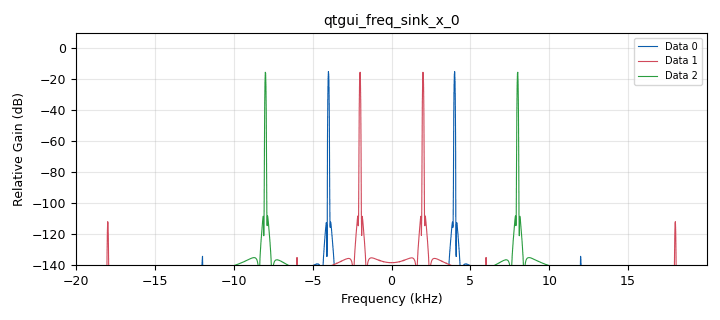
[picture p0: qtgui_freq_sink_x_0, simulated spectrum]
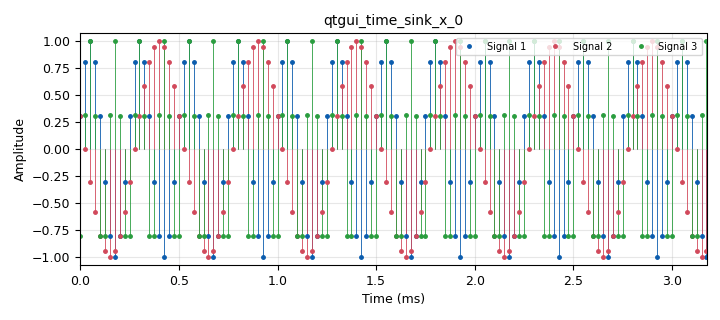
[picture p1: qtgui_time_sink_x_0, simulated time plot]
options:
  parameters:
    author: Jesus_Garcia_Juan_Gonzalez_B1B_G4
    generate_options: qt_gui
    id: Lab_comu_1
    output_language: python
    title: LAB1 - (PUNTO B) - 3
  states: {}

blocks:
- name: freq
  id: variable_qtgui_range
  parameters:
    label: frequency
    start: '1000'
    step: '1000'
    stop: '40000'
    value: '4000'
  states: {}
- name: samp_rate
  id: variable
  parameters:
    value: '40000'
  states: {}
- name: analog_sig_source_x_0
  id: analog_sig_source_x
  parameters:
    amp: '1'
    freq: '4000'
    offset: '0'
    phase: '0'
    samp_rate: samp_rate
    type: float
    waveform: analog.GR_COS_WAVE
  states: {}
- name: analog_sig_source_x_1
  id: analog_sig_source_x
  parameters:
    amp: '1'
    freq: '4000'
    offset: '0'
    phase: '0'
    samp_rate: samp_rate
    type: float
    waveform: analog.GR_COS_WAVE
  states: {}
- name: analog_sig_source_x_2
  id: analog_sig_source_x
  parameters:
    amp: '1'
    freq: '4000'
    offset: '0'
    phase: '0'
    samp_rate: samp_rate
    type: float
    waveform: analog.GR_COS_WAVE
  states: {}
- name: blocks_throttle_0
  id: blocks_throttle
  parameters:
    samples_per_second: samp_rate
    type: float
  states: {}
- name: qtgui_freq_sink_x_0
  id: qtgui_freq_sink_x
  parameters:
    bw: samp_rate
    fc: '0'
    fftsize: '2048'
    nconnections: '3'
    type: float
  states: {}
- name: qtgui_time_sink_x_0
  id: qtgui_time_sink_x
  parameters:
    nconnections: '3'
    size: '128'
    srate: samp_rate
    stemplot: 'True'
    type: float
  states: {}
- name: rational_resampler_xxx_0
  id: rational_resampler_xxx
  parameters:
    decim: '1'
    interp: '1'
    type: fff
  states: {}
- name: rational_resampler_xxx_1
  id: rational_resampler_xxx
  parameters:
    decim: '1'
    interp: '2'
    type: fff
  states: {}
- name: rational_resampler_xxx_1_0
  id: rational_resampler_xxx
  parameters:
    decim: '2'
    interp: '1'
    type: fff
  states: {}

connections:
- [analog_sig_source_x_0, '0', rational_resampler_xxx_0, '0']
- [analog_sig_source_x_1, '0', rational_resampler_xxx_1, '0']
- [analog_sig_source_x_2, '0', rational_resampler_xxx_1_0, '0']
- [blocks_throttle_0, '0', qtgui_freq_sink_x_0, '0']
- [blocks_throttle_0, '0', qtgui_time_sink_x_0, '0']
- [rational_resampler_xxx_0, '0', blocks_throttle_0, '0']
- [rational_resampler_xxx_1, '0', qtgui_freq_sink_x_0, '1']
- [rational_resampler_xxx_1, '0', qtgui_time_sink_x_0, '1']
- [rational_resampler_xxx_1_0, '0', qtgui_freq_sink_x_0, '2']
- [rational_resampler_xxx_1_0, '0', qtgui_time_sink_x_0, '2']

metadata:
  file_format: 1
  grc_version: 3.9.8.0
